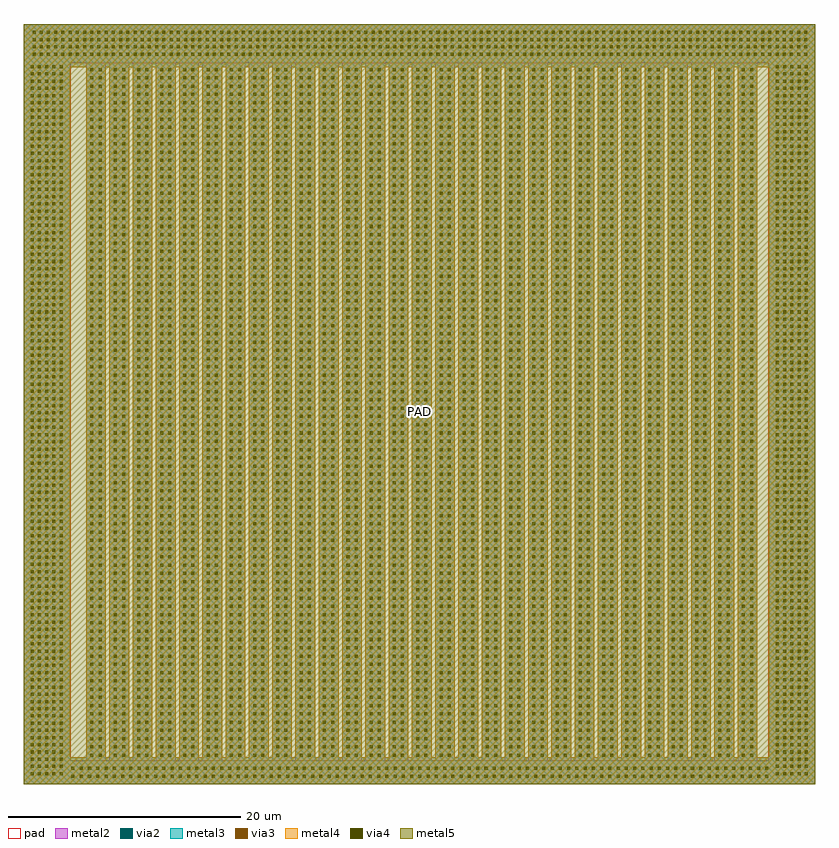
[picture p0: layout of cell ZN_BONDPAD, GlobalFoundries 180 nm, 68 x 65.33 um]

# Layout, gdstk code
from math import pi, radians
import gdstk
lib = gdstk.Library(unit=1e-6, precision=1e-09)
def R(c, l, rs):  # rectangles x0, y0, x1, y1
    for r in rs: c.add(gdstk.rectangle(r[:2], r[2:], *l))
def A(c, l, x, y, w, h, nx, ny, dx, dy):  # array of equal rectangles
    R(c, l, [(x+i*dx, y+j*dy, x+i*dx+w, y+j*dy+h) for i in range(nx) for j in range(ny)])
def P(c, l, *ps):  # polygons
    for p in ps: c.add(gdstk.Polygon(p, *l))
metal2 = (36, 0)
pad = (37, 0)
via2 = (38, 0)
via3 = (40, 0)
via4 = (41, 0)
metal3 = (42, 0)
metal4 = (46, 0)
metal5 = (81, 0)

zn_bp_m3_m2_cdns_4066195 = lib.new_cell('ZN_BP_M3_M2_CDNS_4066195314552')
R(zn_bp_m3_m2_cdns_4066195, metal2, [(-29.655,-0.545,29.655,0.545)])
A(zn_bp_m3_m2_cdns_4066195, via2, -29.595, -0.485, 0.26, 0.26, 84, 2, 0.71, 0.71)
R(zn_bp_m3_m2_cdns_4066195, metal3, [(-29.655,-0.545,29.655,0.545)])

c_zn_bp_m3_m2_cdns_4066195 = lib.new_cell('ZN_BP_M3_M2_CDNS_4066195314550')
R(c_zn_bp_m3_m2_cdns_4066195, metal2, [(-30.01,-0.545,30.01,0.545)])
A(c_zn_bp_m3_m2_cdns_4066195, via2, -29.95, -0.485, 0.26, 0.26, 85, 2, 0.71, 0.71)
R(c_zn_bp_m3_m2_cdns_4066195, metal3, [(-30.01,-0.545,30.01,0.545)])

c_zn_bp_m3_m2_cdns_4066195_ = lib.new_cell('ZN_BP_M3_M2_CDNS_4066195314548')
R(c_zn_bp_m3_m2_cdns_4066195_, metal2, [(-33.36,-1.12,33.36,1.12)])
A(c_zn_bp_m3_m2_cdns_4066195_, via2, -33.3, -1.06, 0.26, 0.26, 108, 4, 0.62, 0.62)
R(c_zn_bp_m3_m2_cdns_4066195_, metal3, [(-33.36,-1.12,33.36,1.12)])

c_zn_bp_m3_m2_cdns_4066195__ = lib.new_cell('ZN_BP_M3_M2_CDNS_4066195314545')
R(c_zn_bp_m3_m2_cdns_4066195__, metal2, [(-30.57,-1.43,30.57,1.43)])
A(c_zn_bp_m3_m2_cdns_4066195__, via2, -30.51, -1.37, 0.26, 0.26, 99, 5, 0.62, 0.62)
R(c_zn_bp_m3_m2_cdns_4066195__, metal3, [(-30.57,-1.43,30.57,1.43)])

zn_bp_m4_m3_cdns_4066195 = lib.new_cell('ZN_BP_M4_M3_CDNS_4066195314551')
A(zn_bp_m4_m3_cdns_4066195, via3, -29.595, -0.485, 0.26, 0.26, 84, 2, 0.71, 0.71)
R(zn_bp_m4_m3_cdns_4066195, metal3, [(-29.655,-0.545,29.655,0.545)])
R(zn_bp_m4_m3_cdns_4066195, metal4, [(-29.655,-0.545,29.655,0.545)])

c_zn_bp_m4_m3_cdns_4066195 = lib.new_cell('ZN_BP_M4_M3_CDNS_4066195314549')
A(c_zn_bp_m4_m3_cdns_4066195, via3, -29.95, -0.485, 0.26, 0.26, 85, 2, 0.71, 0.71)
R(c_zn_bp_m4_m3_cdns_4066195, metal3, [(-30.01,-0.545,30.01,0.545)])
R(c_zn_bp_m4_m3_cdns_4066195, metal4, [(-30.01,-0.545,30.01,0.545)])

c_zn_bp_m4_m3_cdns_4066195_ = lib.new_cell('ZN_BP_M4_M3_CDNS_4066195314547')
A(c_zn_bp_m4_m3_cdns_4066195_, via3, -30.51, -1.37, 0.26, 0.26, 99, 5, 0.62, 0.62)
R(c_zn_bp_m4_m3_cdns_4066195_, metal3, [(-30.57,-1.43,30.57,1.43)])
R(c_zn_bp_m4_m3_cdns_4066195_, metal4, [(-30.57,-1.43,30.57,1.43)])

c_zn_bp_m4_m3_cdns_4066195__ = lib.new_cell('ZN_BP_M4_M3_CDNS_4066195314546')
A(c_zn_bp_m4_m3_cdns_4066195__, via3, -33.3, -1.06, 0.26, 0.26, 108, 4, 0.62, 0.62)
R(c_zn_bp_m4_m3_cdns_4066195__, metal3, [(-33.36,-1.12,33.36,1.12)])
R(c_zn_bp_m4_m3_cdns_4066195__, metal4, [(-33.36,-1.12,33.36,1.12)])

zn_bp_m5_m4_cdns_4066195 = lib.new_cell('ZN_BP_M5_M4_CDNS_4066195314556')
A(zn_bp_m5_m4_cdns_4066195, via4, -29.595, -0.485, 0.26, 0.26, 84, 2, 0.71, 0.71)
R(zn_bp_m5_m4_cdns_4066195, metal4, [(-29.655,-0.545,29.655,0.545)])
R(zn_bp_m5_m4_cdns_4066195, metal5, [(-29.685,-0.575,29.685,0.575)])

c_zn_bp_m5_m4_cdns_4066195 = lib.new_cell('ZN_BP_M5_M4_CDNS_4066195314555')
A(c_zn_bp_m5_m4_cdns_4066195, via4, -29.95, -0.485, 0.26, 0.26, 85, 2, 0.71, 0.71)
R(c_zn_bp_m5_m4_cdns_4066195, metal4, [(-30.01,-0.545,30.01,0.545)])
R(c_zn_bp_m5_m4_cdns_4066195, metal5, [(-30.04,-0.575,30.04,0.575)])

c_zn_bp_m5_m4_cdns_4066195_ = lib.new_cell('ZN_BP_M5_M4_CDNS_4066195314554')
A(c_zn_bp_m5_m4_cdns_4066195_, via4, -30.51, -1.37, 0.26, 0.26, 99, 5, 0.62, 0.62)
R(c_zn_bp_m5_m4_cdns_4066195_, metal4, [(-30.57,-1.43,30.57,1.43)])
R(c_zn_bp_m5_m4_cdns_4066195_, metal5, [(-30.6,-1.46,30.6,1.46)])

c_zn_bp_m5_m4_cdns_4066195__ = lib.new_cell('ZN_BP_M5_M4_CDNS_4066195314553')
A(c_zn_bp_m5_m4_cdns_4066195__, via4, -33.3, -1.06, 0.26, 0.26, 108, 4, 0.62, 0.62)
R(c_zn_bp_m5_m4_cdns_4066195__, metal4, [(-33.36,-1.12,33.36,1.12)])
R(c_zn_bp_m5_m4_cdns_4066195__, metal5, [(-33.39,-1.15,33.39,1.15)])

zn_bondpad = lib.new_cell('ZN_BONDPAD')
R(zn_bondpad, metal2, [(2,0,66,2), (0,62,68,64), (0,64,68,65.325)])
R(zn_bondpad, pad, [(4,2,64,62)])
R(zn_bondpad, metal3, [(0,64,68,65.325)])
P(zn_bondpad, metal3, [(0,0),(0,64),(68,64),(68,0),(4,0),(4,2.29),(64,2.29),(64,61.6),(4,61.6),(4,0)])
R(zn_bondpad, metal4, [(0,64,68,65.325)])
P(zn_bondpad, metal4, [(0,0),(0,64),(68,64),(68,0),(4,0),(4,2.29),(64,2.29),(64,61.6),(4,61.6),(4,0)])
R(zn_bondpad, metal5, [(0,0,68,64), (0,64,68,65.325)])
zn_bondpad.add(gdstk.FlexPath([(8.19,62.205),(8.19,1.27)], 1.7, ends="flush", simple_path=True, layer=42, datatype=0))  # metal3
zn_bondpad.add(gdstk.FlexPath([(10.19,62.205),(10.19,1.27)], 1.7, ends="flush", simple_path=True, layer=42, datatype=0))  # metal3
zn_bondpad.add(gdstk.FlexPath([(12.19,62.205),(12.19,1.27)], 1.7, ends="flush", simple_path=True, layer=42, datatype=0))  # metal3
zn_bondpad.add(gdstk.FlexPath([(14.19,62.205),(14.19,1.27)], 1.7, ends="flush", simple_path=True, layer=42, datatype=0))  # metal3
zn_bondpad.add(gdstk.FlexPath([(16.19,62.205),(16.19,1.27)], 1.7, ends="flush", simple_path=True, layer=42, datatype=0))  # metal3
zn_bondpad.add(gdstk.FlexPath([(20.19,62.205),(20.19,1.27)], 1.7, ends="flush", simple_path=True, layer=42, datatype=0))  # metal3
zn_bondpad.add(gdstk.FlexPath([(18.19,62.205),(18.19,1.27)], 1.7, ends="flush", simple_path=True, layer=42, datatype=0))  # metal3
zn_bondpad.add(gdstk.FlexPath([(22.19,62.205),(22.19,1.27)], 1.7, ends="flush", simple_path=True, layer=42, datatype=0))  # metal3
zn_bondpad.add(gdstk.FlexPath([(24.19,62.205),(24.19,1.27)], 1.7, ends="flush", simple_path=True, layer=42, datatype=0))  # metal3
zn_bondpad.add(gdstk.FlexPath([(26.19,62.205),(26.19,1.27)], 1.7, ends="flush", simple_path=True, layer=42, datatype=0))  # metal3
zn_bondpad.add(gdstk.FlexPath([(28.19,62.205),(28.19,1.27)], 1.7, ends="flush", simple_path=True, layer=42, datatype=0))  # metal3
zn_bondpad.add(gdstk.FlexPath([(30.19,62.205),(30.19,1.27)], 1.7, ends="flush", simple_path=True, layer=42, datatype=0))  # metal3
zn_bondpad.add(gdstk.FlexPath([(32.19,62.205),(32.19,1.27)], 1.7, ends="flush", simple_path=True, layer=42, datatype=0))  # metal3
zn_bondpad.add(gdstk.FlexPath([(36.19,62.205),(36.19,1.27)], 1.7, ends="flush", simple_path=True, layer=42, datatype=0))  # metal3
zn_bondpad.add(gdstk.FlexPath([(34.19,62.205),(34.19,1.27)], 1.7, ends="flush", simple_path=True, layer=42, datatype=0))  # metal3
zn_bondpad.add(gdstk.FlexPath([(38.19,62.205),(38.19,1.27)], 1.7, ends="flush", simple_path=True, layer=42, datatype=0))  # metal3
zn_bondpad.add(gdstk.FlexPath([(40.19,62.205),(40.19,1.27)], 1.7, ends="flush", simple_path=True, layer=42, datatype=0))  # metal3
zn_bondpad.add(gdstk.FlexPath([(42.19,62.205),(42.19,1.27)], 1.7, ends="flush", simple_path=True, layer=42, datatype=0))  # metal3
zn_bondpad.add(gdstk.FlexPath([(44.19,62.205),(44.19,1.27)], 1.7, ends="flush", simple_path=True, layer=42, datatype=0))  # metal3
zn_bondpad.add(gdstk.FlexPath([(46.19,62.205),(46.19,1.27)], 1.7, ends="flush", simple_path=True, layer=42, datatype=0))  # metal3
zn_bondpad.add(gdstk.FlexPath([(48.19,62.205),(48.19,1.27)], 1.7, ends="flush", simple_path=True, layer=42, datatype=0))  # metal3
zn_bondpad.add(gdstk.FlexPath([(52.19,62.205),(52.19,1.27)], 1.7, ends="flush", simple_path=True, layer=42, datatype=0))  # metal3
zn_bondpad.add(gdstk.FlexPath([(50.19,62.205),(50.19,1.27)], 1.7, ends="flush", simple_path=True, layer=42, datatype=0))  # metal3
zn_bondpad.add(gdstk.FlexPath([(54.19,62.205),(54.19,1.27)], 1.7, ends="flush", simple_path=True, layer=42, datatype=0))  # metal3
zn_bondpad.add(gdstk.FlexPath([(56.19,62.205),(56.19,1.27)], 1.7, ends="flush", simple_path=True, layer=42, datatype=0))  # metal3
zn_bondpad.add(gdstk.FlexPath([(58.19,62.205),(58.19,1.27)], 1.7, ends="flush", simple_path=True, layer=42, datatype=0))  # metal3
zn_bondpad.add(gdstk.FlexPath([(60.19,62.205),(60.19,1.27)], 1.7, ends="flush", simple_path=True, layer=42, datatype=0))  # metal3
zn_bondpad.add(gdstk.FlexPath([(62.19,62.205),(62.19,1.27)], 1.7, ends="flush", simple_path=True, layer=42, datatype=0))  # metal3
zn_bondpad.add(gdstk.FlexPath([(6.19,62.205),(6.19,1.27)], 1.7, ends="flush", simple_path=True, layer=42, datatype=0))  # metal3
zn_bondpad.add(gdstk.FlexPath([(3,62.205),(3,1.27)], 2, ends="flush", simple_path=True, layer=36, datatype=0))  # metal2
zn_bondpad.add(gdstk.FlexPath([(1,62.205),(1,0)], 2, ends="flush", simple_path=True, layer=36, datatype=0))  # metal2
zn_bondpad.add(gdstk.FlexPath([(67,62.205),(67,0)], 2, ends="flush", simple_path=True, layer=36, datatype=0))  # metal2
zn_bondpad.add(gdstk.FlexPath([(6.19,62.205),(6.19,1.27)], 1.7, ends="flush", simple_path=True, layer=36, datatype=0))  # metal2
zn_bondpad.add(gdstk.FlexPath([(65,62.205),(65,1.27)], 2, ends="flush", simple_path=True, layer=36, datatype=0))  # metal2
zn_bondpad.add(gdstk.FlexPath([(62.19,62.205),(62.19,1.27)], 1.7, ends="flush", simple_path=True, layer=36, datatype=0))  # metal2
zn_bondpad.add(gdstk.FlexPath([(60.19,62.205),(60.19,1.27)], 1.7, ends="flush", simple_path=True, layer=36, datatype=0))  # metal2
zn_bondpad.add(gdstk.FlexPath([(58.19,62.205),(58.19,1.27)], 1.7, ends="flush", simple_path=True, layer=36, datatype=0))  # metal2
zn_bondpad.add(gdstk.FlexPath([(56.19,62.205),(56.19,1.27)], 1.7, ends="flush", simple_path=True, layer=36, datatype=0))  # metal2
zn_bondpad.add(gdstk.FlexPath([(54.19,62.205),(54.19,1.27)], 1.7, ends="flush", simple_path=True, layer=36, datatype=0))  # metal2
zn_bondpad.add(gdstk.FlexPath([(50.19,62.205),(50.19,1.27)], 1.7, ends="flush", simple_path=True, layer=36, datatype=0))  # metal2
zn_bondpad.add(gdstk.FlexPath([(52.19,62.205),(52.19,1.27)], 1.7, ends="flush", simple_path=True, layer=36, datatype=0))  # metal2
zn_bondpad.add(gdstk.FlexPath([(48.19,62.205),(48.19,1.27)], 1.7, ends="flush", simple_path=True, layer=36, datatype=0))  # metal2
zn_bondpad.add(gdstk.FlexPath([(48.19,62.205),(48.19,1.27)], 1, ends="flush", simple_path=True, layer=36, datatype=0))  # metal2
zn_bondpad.add(gdstk.FlexPath([(46.19,62.205),(46.19,1.27)], 1.7, ends="flush", simple_path=True, layer=36, datatype=0))  # metal2
zn_bondpad.add(gdstk.FlexPath([(44.19,62.205),(44.19,1.27)], 1.7, ends="flush", simple_path=True, layer=36, datatype=0))  # metal2
zn_bondpad.add(gdstk.FlexPath([(42.19,62.205),(42.19,1.27)], 1.7, ends="flush", simple_path=True, layer=36, datatype=0))  # metal2
zn_bondpad.add(gdstk.FlexPath([(40.19,62.205),(40.19,1.27)], 1.7, ends="flush", simple_path=True, layer=36, datatype=0))  # metal2
zn_bondpad.add(gdstk.FlexPath([(36.19,62.205),(36.19,1.27)], 1.7, ends="flush", simple_path=True, layer=36, datatype=0))  # metal2
zn_bondpad.add(gdstk.FlexPath([(38.19,62.205),(38.19,1.27)], 1.7, ends="flush", simple_path=True, layer=36, datatype=0))  # metal2
zn_bondpad.add(gdstk.FlexPath([(34.19,62.205),(34.19,1.27)], 1.7, ends="flush", simple_path=True, layer=36, datatype=0))  # metal2
zn_bondpad.add(gdstk.FlexPath([(34.19,62.205),(34.19,1.27)], 1, ends="flush", simple_path=True, layer=36, datatype=0))  # metal2
zn_bondpad.add(gdstk.FlexPath([(32.19,62.205),(32.19,1.27)], 1.7, ends="flush", simple_path=True, layer=36, datatype=0))  # metal2
zn_bondpad.add(gdstk.FlexPath([(30.19,62.205),(30.19,1.27)], 1.7, ends="flush", simple_path=True, layer=36, datatype=0))  # metal2
zn_bondpad.add(gdstk.FlexPath([(28.19,62.205),(28.19,1.27)], 1.7, ends="flush", simple_path=True, layer=36, datatype=0))  # metal2
zn_bondpad.add(gdstk.FlexPath([(26.19,62.205),(26.19,1.27)], 1.7, ends="flush", simple_path=True, layer=36, datatype=0))  # metal2
zn_bondpad.add(gdstk.FlexPath([(22.19,62.205),(22.19,1.27)], 1.7, ends="flush", simple_path=True, layer=36, datatype=0))  # metal2
zn_bondpad.add(gdstk.FlexPath([(24.19,62.205),(24.19,1.27)], 1.7, ends="flush", simple_path=True, layer=36, datatype=0))  # metal2
zn_bondpad.add(gdstk.FlexPath([(20.19,62.205),(20.19,1.27)], 1.7, ends="flush", simple_path=True, layer=36, datatype=0))  # metal2
zn_bondpad.add(gdstk.FlexPath([(20.19,62.205),(20.19,1.27)], 1, ends="flush", simple_path=True, layer=36, datatype=0))  # metal2
zn_bondpad.add(gdstk.FlexPath([(18.19,62.205),(18.19,1.27)], 1.7, ends="flush", simple_path=True, layer=36, datatype=0))  # metal2
zn_bondpad.add(gdstk.FlexPath([(16.19,62.205),(16.19,1.27)], 1.7, ends="flush", simple_path=True, layer=36, datatype=0))  # metal2
zn_bondpad.add(gdstk.FlexPath([(14.19,62.205),(14.19,1.27)], 1.7, ends="flush", simple_path=True, layer=36, datatype=0))  # metal2
zn_bondpad.add(gdstk.FlexPath([(12.19,62.205),(12.19,1.27)], 1.7, ends="flush", simple_path=True, layer=36, datatype=0))  # metal2
zn_bondpad.add(gdstk.FlexPath([(10.19,62.205),(10.19,1.27)], 1.7, ends="flush", simple_path=True, layer=36, datatype=0))  # metal2
zn_bondpad.add(gdstk.FlexPath([(8.19,62.205),(8.19,1.27)], 1.7, ends="flush", simple_path=True, layer=36, datatype=0))  # metal2
zn_bondpad.add(gdstk.FlexPath([(62.19,62.205),(62.19,1.27)], 1.7, ends="flush", simple_path=True, layer=46, datatype=0))  # metal4
zn_bondpad.add(gdstk.FlexPath([(60.19,62.205),(60.19,1.27)], 1.7, ends="flush", simple_path=True, layer=46, datatype=0))  # metal4
zn_bondpad.add(gdstk.FlexPath([(58.19,62.205),(58.19,1.27)], 1.7, ends="flush", simple_path=True, layer=46, datatype=0))  # metal4
zn_bondpad.add(gdstk.FlexPath([(56.19,62.205),(56.19,1.27)], 1.7, ends="flush", simple_path=True, layer=46, datatype=0))  # metal4
zn_bondpad.add(gdstk.FlexPath([(54.19,62.205),(54.19,1.27)], 1.7, ends="flush", simple_path=True, layer=46, datatype=0))  # metal4
zn_bondpad.add(gdstk.FlexPath([(52.19,62.205),(52.19,1.27)], 1.7, ends="flush", simple_path=True, layer=46, datatype=0))  # metal4
zn_bondpad.add(gdstk.FlexPath([(48.19,62.205),(48.19,1.27)], 1.7, ends="flush", simple_path=True, layer=46, datatype=0))  # metal4
zn_bondpad.add(gdstk.FlexPath([(50.19,62.205),(50.19,1.27)], 1.7, ends="flush", simple_path=True, layer=46, datatype=0))  # metal4
zn_bondpad.add(gdstk.FlexPath([(46.19,62.205),(46.19,1.27)], 1.7, ends="flush", simple_path=True, layer=46, datatype=0))  # metal4
zn_bondpad.add(gdstk.FlexPath([(44.19,62.205),(44.19,1.27)], 1.7, ends="flush", simple_path=True, layer=46, datatype=0))  # metal4
zn_bondpad.add(gdstk.FlexPath([(42.19,62.205),(42.19,1.27)], 1.7, ends="flush", simple_path=True, layer=46, datatype=0))  # metal4
zn_bondpad.add(gdstk.FlexPath([(40.19,62.205),(40.19,1.27)], 1.7, ends="flush", simple_path=True, layer=46, datatype=0))  # metal4
zn_bondpad.add(gdstk.FlexPath([(38.19,62.205),(38.19,1.27)], 1.7, ends="flush", simple_path=True, layer=46, datatype=0))  # metal4
zn_bondpad.add(gdstk.FlexPath([(36.19,62.205),(36.19,1.27)], 1.7, ends="flush", simple_path=True, layer=46, datatype=0))  # metal4
zn_bondpad.add(gdstk.FlexPath([(32.19,62.205),(32.19,1.27)], 1.7, ends="flush", simple_path=True, layer=46, datatype=0))  # metal4
zn_bondpad.add(gdstk.FlexPath([(34.19,62.205),(34.19,1.27)], 1.7, ends="flush", simple_path=True, layer=46, datatype=0))  # metal4
zn_bondpad.add(gdstk.FlexPath([(30.19,62.205),(30.19,1.27)], 1.7, ends="flush", simple_path=True, layer=46, datatype=0))  # metal4
zn_bondpad.add(gdstk.FlexPath([(28.19,62.205),(28.19,1.27)], 1.7, ends="flush", simple_path=True, layer=46, datatype=0))  # metal4
zn_bondpad.add(gdstk.FlexPath([(26.19,62.205),(26.19,1.27)], 1.7, ends="flush", simple_path=True, layer=46, datatype=0))  # metal4
zn_bondpad.add(gdstk.FlexPath([(24.19,62.205),(24.19,1.27)], 1.7, ends="flush", simple_path=True, layer=46, datatype=0))  # metal4
zn_bondpad.add(gdstk.FlexPath([(22.19,62.205),(22.19,1.27)], 1.7, ends="flush", simple_path=True, layer=46, datatype=0))  # metal4
zn_bondpad.add(gdstk.FlexPath([(20.19,62.205),(20.19,1.27)], 1.7, ends="flush", simple_path=True, layer=46, datatype=0))  # metal4
zn_bondpad.add(gdstk.FlexPath([(16.19,62.205),(16.19,1.27)], 1.7, ends="flush", simple_path=True, layer=46, datatype=0))  # metal4
zn_bondpad.add(gdstk.FlexPath([(18.19,62.205),(18.19,1.27)], 1.7, ends="flush", simple_path=True, layer=46, datatype=0))  # metal4
zn_bondpad.add(gdstk.FlexPath([(14.19,62.205),(14.19,1.27)], 1.7, ends="flush", simple_path=True, layer=46, datatype=0))  # metal4
zn_bondpad.add(gdstk.FlexPath([(12.19,62.205),(12.19,1.27)], 1.7, ends="flush", simple_path=True, layer=46, datatype=0))  # metal4
zn_bondpad.add(gdstk.FlexPath([(10.19,62.205),(10.19,1.27)], 1.7, ends="flush", simple_path=True, layer=46, datatype=0))  # metal4
zn_bondpad.add(gdstk.FlexPath([(8.19,62.205),(8.19,1.27)], 1.7, ends="flush", simple_path=True, layer=46, datatype=0))  # metal4
zn_bondpad.add(gdstk.FlexPath([(6.19,62.205),(6.19,1.27)], 1.7, ends="flush", simple_path=True, layer=46, datatype=0))  # metal4
zn_bondpad.add(gdstk.Reference(zn_bp_m3_m2_cdns_4066195, (16.195,31.945), rotation=pi/2))
zn_bondpad.add(gdstk.Reference(zn_bp_m3_m2_cdns_4066195, (44.195,31.945), rotation=pi/2))
zn_bondpad.add(gdstk.Reference(zn_bp_m3_m2_cdns_4066195, (46.18,31.945), rotation=pi/2))
zn_bondpad.add(gdstk.Reference(zn_bp_m3_m2_cdns_4066195, (46.18,31.945), rotation=pi/2))
zn_bondpad.add(gdstk.Reference(zn_bp_m3_m2_cdns_4066195, (38.22,31.945), rotation=pi/2))
zn_bondpad.add(gdstk.Reference(zn_bp_m3_m2_cdns_4066195, (10.205,31.945), rotation=pi/2))
zn_bondpad.add(gdstk.Reference(zn_bp_m3_m2_cdns_4066195, (10.205,31.945), rotation=pi/2))
zn_bondpad.add(gdstk.Reference(zn_bp_m3_m2_cdns_4066195, (6.2,31.945), rotation=pi/2))
zn_bondpad.add(gdstk.Reference(zn_bp_m3_m2_cdns_4066195, (6.2,31.945), rotation=pi/2))
zn_bondpad.add(gdstk.Reference(zn_bp_m3_m2_cdns_4066195, (8.205,31.945), rotation=pi/2))
zn_bondpad.add(gdstk.Reference(zn_bp_m3_m2_cdns_4066195, (8.205,31.945), rotation=pi/2))
zn_bondpad.add(gdstk.Reference(zn_bp_m3_m2_cdns_4066195, (12.19,31.945), rotation=pi/2))
zn_bondpad.add(gdstk.Reference(zn_bp_m3_m2_cdns_4066195, (12.19,31.945), rotation=pi/2))
zn_bondpad.add(gdstk.Reference(zn_bp_m3_m2_cdns_4066195, (14.175,31.945), rotation=pi/2))
zn_bondpad.add(gdstk.Reference(zn_bp_m3_m2_cdns_4066195, (14.175,31.945), rotation=pi/2))
zn_bondpad.add(gdstk.Reference(zn_bp_m3_m2_cdns_4066195, (62.2,31.945), rotation=pi/2))
zn_bondpad.add(gdstk.Reference(zn_bp_m3_m2_cdns_4066195, (16.195,31.945), rotation=pi/2))
zn_bondpad.add(gdstk.Reference(zn_bp_m3_m2_cdns_4066195, (30.195,31.945), rotation=pi/2))
zn_bondpad.add(gdstk.Reference(zn_bp_m3_m2_cdns_4066195, (28.21,31.945), rotation=pi/2))
zn_bondpad.add(gdstk.Reference(zn_bp_m3_m2_cdns_4066195, (26.185,31.945), rotation=pi/2))
zn_bondpad.add(gdstk.Reference(zn_bp_m3_m2_cdns_4066195, (26.185,31.945), rotation=pi/2))
zn_bondpad.add(gdstk.Reference(zn_bp_m3_m2_cdns_4066195, (24.185,31.945), rotation=pi/2))
zn_bondpad.add(gdstk.Reference(zn_bp_m3_m2_cdns_4066195, (24.185,31.945), rotation=pi/2))
zn_bondpad.add(gdstk.Reference(zn_bp_m3_m2_cdns_4066195, (22.16,31.945), rotation=pi/2))
zn_bondpad.add(gdstk.Reference(zn_bp_m3_m2_cdns_4066195, (22.16,31.945), rotation=pi/2))
zn_bondpad.add(gdstk.Reference(zn_bp_m3_m2_cdns_4066195, (20.175,31.945), rotation=pi/2))
zn_bondpad.add(gdstk.Reference(zn_bp_m3_m2_cdns_4066195, (20.175,31.945), rotation=pi/2))
zn_bondpad.add(gdstk.Reference(zn_bp_m3_m2_cdns_4066195, (18.175,31.945), rotation=pi/2))
zn_bondpad.add(gdstk.Reference(zn_bp_m3_m2_cdns_4066195, (28.21,31.945), rotation=pi/2))
zn_bondpad.add(gdstk.Reference(zn_bp_m3_m2_cdns_4066195, (18.175,31.945), rotation=pi/2))
zn_bondpad.add(gdstk.Reference(zn_bp_m3_m2_cdns_4066195, (42.195,31.945), rotation=pi/2))
zn_bondpad.add(gdstk.Reference(zn_bp_m3_m2_cdns_4066195, (62.2,31.945), rotation=pi/2))
zn_bondpad.add(gdstk.Reference(zn_bp_m3_m2_cdns_4066195, (60.175,31.945), rotation=pi/2))
zn_bondpad.add(gdstk.Reference(zn_bp_m3_m2_cdns_4066195, (60.175,31.945), rotation=pi/2))
zn_bondpad.add(gdstk.Reference(zn_bp_m3_m2_cdns_4066195, (58.175,31.945), rotation=pi/2))
zn_bondpad.add(gdstk.Reference(zn_bp_m3_m2_cdns_4066195, (58.175,31.945), rotation=pi/2))
zn_bondpad.add(gdstk.Reference(zn_bp_m3_m2_cdns_4066195, (56.15,31.945), rotation=pi/2))
zn_bondpad.add(gdstk.Reference(zn_bp_m3_m2_cdns_4066195, (56.15,31.945), rotation=pi/2))
zn_bondpad.add(gdstk.Reference(zn_bp_m3_m2_cdns_4066195, (54.165,31.945), rotation=pi/2))
zn_bondpad.add(gdstk.Reference(zn_bp_m3_m2_cdns_4066195, (54.165,31.945), rotation=pi/2))
zn_bondpad.add(gdstk.Reference(zn_bp_m3_m2_cdns_4066195, (52.165,31.945), rotation=pi/2))
zn_bondpad.add(gdstk.Reference(zn_bp_m3_m2_cdns_4066195, (52.165,31.945), rotation=pi/2))
zn_bondpad.add(gdstk.Reference(zn_bp_m3_m2_cdns_4066195, (50.185,31.945), rotation=pi/2))
zn_bondpad.add(gdstk.Reference(zn_bp_m3_m2_cdns_4066195, (50.185,31.945), rotation=pi/2))
zn_bondpad.add(gdstk.Reference(zn_bp_m3_m2_cdns_4066195, (30.195,31.945), rotation=pi/2))
zn_bondpad.add(gdstk.Reference(zn_bp_m3_m2_cdns_4066195, (44.195,31.945), rotation=pi/2))
zn_bondpad.add(gdstk.Reference(zn_bp_m3_m2_cdns_4066195, (42.195,31.945), rotation=pi/2))
zn_bondpad.add(gdstk.Reference(zn_bp_m3_m2_cdns_4066195, (40.19,31.945), rotation=pi/2))
zn_bondpad.add(gdstk.Reference(zn_bp_m3_m2_cdns_4066195, (40.19,31.945), rotation=pi/2))
zn_bondpad.add(gdstk.Reference(zn_bp_m3_m2_cdns_4066195, (48.165,31.945), rotation=pi/2))
zn_bondpad.add(gdstk.Reference(zn_bp_m3_m2_cdns_4066195, (38.22,31.945), rotation=pi/2))
zn_bondpad.add(gdstk.Reference(zn_bp_m3_m2_cdns_4066195, (36.205,31.945), rotation=pi/2))
zn_bondpad.add(gdstk.Reference(zn_bp_m3_m2_cdns_4066195, (36.205,31.945), rotation=pi/2))
zn_bondpad.add(gdstk.Reference(zn_bp_m3_m2_cdns_4066195, (34.195,31.945), rotation=pi/2))
zn_bondpad.add(gdstk.Reference(zn_bp_m3_m2_cdns_4066195, (34.195,31.945), rotation=pi/2))
zn_bondpad.add(gdstk.Reference(zn_bp_m3_m2_cdns_4066195, (32.18,31.945), rotation=pi/2))
zn_bondpad.add(gdstk.Reference(zn_bp_m3_m2_cdns_4066195, (32.18,31.945), rotation=pi/2))
zn_bondpad.add(gdstk.Reference(zn_bp_m3_m2_cdns_4066195, (48.165,31.945), rotation=pi/2))
zn_bondpad.add(gdstk.Reference(c_zn_bp_m3_m2_cdns_4066195, (34.035,1.015)))
zn_bondpad.add(gdstk.Reference(c_zn_bp_m3_m2_cdns_4066195, (34.035,1.015)))
zn_bondpad.add(gdstk.Reference(c_zn_bp_m3_m2_cdns_4066195_, (34.04,63.675)))
zn_bondpad.add(gdstk.Reference(c_zn_bp_m3_m2_cdns_4066195_, (34.04,63.675)))
zn_bondpad.add(gdstk.Reference(c_zn_bp_m3_m2_cdns_4066195__, (1.95,31.27), rotation=pi/2))
zn_bondpad.add(gdstk.Reference(c_zn_bp_m3_m2_cdns_4066195__, (66.01,31.27), rotation=pi/2))
zn_bondpad.add(gdstk.Reference(c_zn_bp_m3_m2_cdns_4066195__, (66.01,31.27), rotation=pi/2))
zn_bondpad.add(gdstk.Reference(c_zn_bp_m3_m2_cdns_4066195__, (1.95,31.27), rotation=pi/2))
zn_bondpad.add(gdstk.Reference(zn_bp_m4_m3_cdns_4066195, (58.175,31.945), rotation=pi/2))
zn_bondpad.add(gdstk.Reference(zn_bp_m4_m3_cdns_4066195, (28.21,31.945), rotation=pi/2))
zn_bondpad.add(gdstk.Reference(zn_bp_m4_m3_cdns_4066195, (62.2,31.945), rotation=pi/2))
zn_bondpad.add(gdstk.Reference(zn_bp_m4_m3_cdns_4066195, (12.19,31.945), rotation=pi/2))
zn_bondpad.add(gdstk.Reference(zn_bp_m4_m3_cdns_4066195, (10.205,31.945), rotation=pi/2))
zn_bondpad.add(gdstk.Reference(zn_bp_m4_m3_cdns_4066195, (14.175,31.945), rotation=pi/2))
zn_bondpad.add(gdstk.Reference(zn_bp_m4_m3_cdns_4066195, (8.205,31.945), rotation=pi/2))
zn_bondpad.add(gdstk.Reference(zn_bp_m4_m3_cdns_4066195, (6.2,31.945), rotation=pi/2))
zn_bondpad.add(gdstk.Reference(zn_bp_m4_m3_cdns_4066195, (16.195,31.945), rotation=pi/2))
zn_bondpad.add(gdstk.Reference(zn_bp_m4_m3_cdns_4066195, (18.175,31.945), rotation=pi/2))
zn_bondpad.add(gdstk.Reference(zn_bp_m4_m3_cdns_4066195, (20.175,31.945), rotation=pi/2))
zn_bondpad.add(gdstk.Reference(zn_bp_m4_m3_cdns_4066195, (22.16,31.945), rotation=pi/2))
zn_bondpad.add(gdstk.Reference(zn_bp_m4_m3_cdns_4066195, (24.185,31.945), rotation=pi/2))
zn_bondpad.add(gdstk.Reference(zn_bp_m4_m3_cdns_4066195, (26.185,31.945), rotation=pi/2))
zn_bondpad.add(gdstk.Reference(zn_bp_m4_m3_cdns_4066195, (60.175,31.945), rotation=pi/2))
zn_bondpad.add(gdstk.Reference(zn_bp_m4_m3_cdns_4066195, (32.18,31.945), rotation=pi/2))
zn_bondpad.add(gdstk.Reference(zn_bp_m4_m3_cdns_4066195, (56.15,31.945), rotation=pi/2))
zn_bondpad.add(gdstk.Reference(zn_bp_m4_m3_cdns_4066195, (54.165,31.945), rotation=pi/2))
zn_bondpad.add(gdstk.Reference(zn_bp_m4_m3_cdns_4066195, (52.165,31.945), rotation=pi/2))
zn_bondpad.add(gdstk.Reference(zn_bp_m4_m3_cdns_4066195, (50.185,31.945), rotation=pi/2))
zn_bondpad.add(gdstk.Reference(zn_bp_m4_m3_cdns_4066195, (48.165,31.945), rotation=pi/2))
zn_bondpad.add(gdstk.Reference(zn_bp_m4_m3_cdns_4066195, (46.18,31.945), rotation=pi/2))
zn_bondpad.add(gdstk.Reference(zn_bp_m4_m3_cdns_4066195, (44.195,31.945), rotation=pi/2))
zn_bondpad.add(gdstk.Reference(zn_bp_m4_m3_cdns_4066195, (42.195,31.945), rotation=pi/2))
zn_bondpad.add(gdstk.Reference(zn_bp_m4_m3_cdns_4066195, (40.19,31.945), rotation=pi/2))
zn_bondpad.add(gdstk.Reference(zn_bp_m4_m3_cdns_4066195, (38.22,31.945), rotation=pi/2))
zn_bondpad.add(gdstk.Reference(zn_bp_m4_m3_cdns_4066195, (36.205,31.945), rotation=pi/2))
zn_bondpad.add(gdstk.Reference(zn_bp_m4_m3_cdns_4066195, (34.195,31.945), rotation=pi/2))
zn_bondpad.add(gdstk.Reference(zn_bp_m4_m3_cdns_4066195, (30.195,31.945), rotation=pi/2))
zn_bondpad.add(gdstk.Reference(c_zn_bp_m4_m3_cdns_4066195, (34.035,1.015)))
zn_bondpad.add(gdstk.Reference(c_zn_bp_m4_m3_cdns_4066195_, (1.95,31.27), rotation=pi/2))
zn_bondpad.add(gdstk.Reference(c_zn_bp_m4_m3_cdns_4066195_, (66.01,31.27), rotation=pi/2))
zn_bondpad.add(gdstk.Reference(c_zn_bp_m4_m3_cdns_4066195__, (34.04,63.675)))
zn_bondpad.add(gdstk.Reference(zn_bp_m5_m4_cdns_4066195, (6.2,31.945), rotation=pi/2))
zn_bondpad.add(gdstk.Reference(zn_bp_m5_m4_cdns_4066195, (8.205,31.945), rotation=pi/2))
zn_bondpad.add(gdstk.Reference(zn_bp_m5_m4_cdns_4066195, (62.2,31.945), rotation=pi/2))
zn_bondpad.add(gdstk.Reference(zn_bp_m5_m4_cdns_4066195, (60.175,31.945), rotation=pi/2))
zn_bondpad.add(gdstk.Reference(zn_bp_m5_m4_cdns_4066195, (58.175,31.945), rotation=pi/2))
zn_bondpad.add(gdstk.Reference(zn_bp_m5_m4_cdns_4066195, (56.15,31.945), rotation=pi/2))
zn_bondpad.add(gdstk.Reference(zn_bp_m5_m4_cdns_4066195, (54.165,31.945), rotation=pi/2))
zn_bondpad.add(gdstk.Reference(zn_bp_m5_m4_cdns_4066195, (52.165,31.945), rotation=pi/2))
zn_bondpad.add(gdstk.Reference(zn_bp_m5_m4_cdns_4066195, (50.185,31.945), rotation=pi/2))
zn_bondpad.add(gdstk.Reference(zn_bp_m5_m4_cdns_4066195, (48.165,31.945), rotation=pi/2))
zn_bondpad.add(gdstk.Reference(zn_bp_m5_m4_cdns_4066195, (46.18,31.945), rotation=pi/2))
zn_bondpad.add(gdstk.Reference(zn_bp_m5_m4_cdns_4066195, (44.195,31.945), rotation=pi/2))
zn_bondpad.add(gdstk.Reference(zn_bp_m5_m4_cdns_4066195, (42.195,31.945), rotation=pi/2))
zn_bondpad.add(gdstk.Reference(zn_bp_m5_m4_cdns_4066195, (40.19,31.945), rotation=pi/2))
zn_bondpad.add(gdstk.Reference(zn_bp_m5_m4_cdns_4066195, (38.22,31.945), rotation=pi/2))
zn_bondpad.add(gdstk.Reference(zn_bp_m5_m4_cdns_4066195, (34.195,31.945), rotation=pi/2))
zn_bondpad.add(gdstk.Reference(zn_bp_m5_m4_cdns_4066195, (10.205,31.945), rotation=pi/2))
zn_bondpad.add(gdstk.Reference(zn_bp_m5_m4_cdns_4066195, (12.19,31.945), rotation=pi/2))
zn_bondpad.add(gdstk.Reference(zn_bp_m5_m4_cdns_4066195, (14.175,31.945), rotation=pi/2))
zn_bondpad.add(gdstk.Reference(zn_bp_m5_m4_cdns_4066195, (16.195,31.945), rotation=pi/2))
zn_bondpad.add(gdstk.Reference(zn_bp_m5_m4_cdns_4066195, (18.175,31.945), rotation=pi/2))
zn_bondpad.add(gdstk.Reference(zn_bp_m5_m4_cdns_4066195, (20.175,31.945), rotation=pi/2))
zn_bondpad.add(gdstk.Reference(zn_bp_m5_m4_cdns_4066195, (22.16,31.945), rotation=pi/2))
zn_bondpad.add(gdstk.Reference(zn_bp_m5_m4_cdns_4066195, (24.185,31.945), rotation=pi/2))
zn_bondpad.add(gdstk.Reference(zn_bp_m5_m4_cdns_4066195, (26.185,31.945), rotation=pi/2))
zn_bondpad.add(gdstk.Reference(zn_bp_m5_m4_cdns_4066195, (28.21,31.945), rotation=pi/2))
zn_bondpad.add(gdstk.Reference(zn_bp_m5_m4_cdns_4066195, (30.195,31.945), rotation=pi/2))
zn_bondpad.add(gdstk.Reference(zn_bp_m5_m4_cdns_4066195, (32.18,31.945), rotation=pi/2))
zn_bondpad.add(gdstk.Reference(zn_bp_m5_m4_cdns_4066195, (36.205,31.945), rotation=pi/2))
zn_bondpad.add(gdstk.Reference(c_zn_bp_m5_m4_cdns_4066195, (34.035,1.015)))
zn_bondpad.add(gdstk.Reference(c_zn_bp_m5_m4_cdns_4066195_, (1.95,31.27), rotation=pi/2))
zn_bondpad.add(gdstk.Reference(c_zn_bp_m5_m4_cdns_4066195_, (66.01,31.27), rotation=pi/2))
zn_bondpad.add(gdstk.Reference(c_zn_bp_m5_m4_cdns_4066195__, (34.04,63.675)))
zn_bondpad.add(gdstk.Label('PAD', (34,32), layer=81, texttype=10))

lib.write_gds('ZN_BONDPAD.gds')
